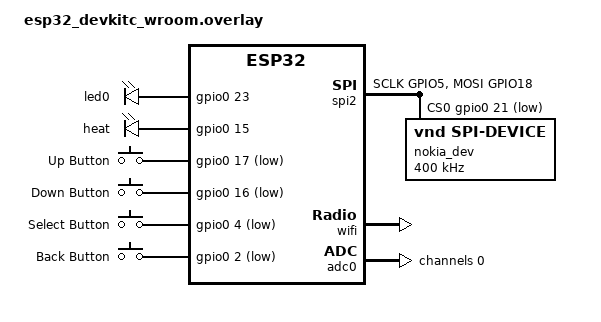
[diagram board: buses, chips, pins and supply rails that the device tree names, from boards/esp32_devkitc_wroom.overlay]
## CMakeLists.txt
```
# Minimum CMake version
cmake_minimum_required(VERSION 3.22.0)

# Locate the Zephyr RTOS source
find_package(Zephyr REQUIRED HINTS $ENV{ZEPHYR_BASE})

# Name the project
project(waterHeater)

# Locate the source code for the application
target_sources(app PRIVATE 
    src/main.c 
    src/display.c
    src/menu.c
    src/menu_data.c
    src/wifi.c
    src/state.c
    src/time.c
    src/adc.c
    src/T_curve.c
    src/pid_regulation.c
    )
```

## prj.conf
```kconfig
#To have a shell console on UART
CONFIG_SHELL=y
CONFIG_CONSOLE=y
CONFIG_UART_CONSOLE=y
CONFIG_ESP32_USE_UNSUPPORTED_REVISION=y

#Tracing tools
#CONFIG_TRACING=y
#CONFIG_TRACING_USER=y
#CONFIG_THREAD_NAME=y

#CONFIG_TRACING_CTF=y
#CONFIG_TRACING_BACKEND_RAM=y
#8192
#CONFIG_RAM_TRACING_BUFFER_SIZE=8192

#Avoid disturbant threads we are no focussing on.
#CONFIG_TRACING_ISR=n
#CONFIG_TRACING_SEMAPHORE=n

# The philips,pcd8544 display driver is not in this version of Zephyr
CONFIG_GPIO=y
CONFIG_SPI=y
CONFIG_LOG=y

## Networking General & Sockets
CONFIG_NETWORKING=y
CONFIG_NET_SOCKETS=y
CONFIG_NET_IPV4=y
CONFIG_NET_IPV6=n
CONFIG_NET_DHCPV4=y
CONFIG_NET_L2_ETHERNET=y
#For Auto-DHCP Helper
CONFIG_ESP32_WIFI_STA_AUTO_DHCPV4=y

# Networking Stack Buffers (increase defaults for Wi-Fi/DHCP)
CONFIG_NET_BUF_RX_COUNT=32
CONFIG_NET_BUF_TX_COUNT=32
CONFIG_NET_PKT_RX_COUNT=16
CONFIG_NET_PKT_TX_COUNT=16

# Enable Wi-Fi Subsystem
CONFIG_WIFI=y
CONFIG_WIFI_LOG_LEVEL_INF=y

# SNTP & POSIX Time Support
CONFIG_SNTP=y
# POSIX_API=y fails on build flash which fails to rebuild
#CONFIG_POSIX_API=y

# Network Shell (optional, great for debugging Wi-Fi connections via terminal)
#CONFIG_NET_SHELL=y

# Allocate system heap memory pool required by the network/Wi-Fi stack
CONFIG_HEAP_MEM_POOL_SIZE=49152

#CONFIG_ESP_HEAP_RUNTIME
#HARDWARE CONFIG -> ESP32 WiFi Config
CONFIG_ESP_WIFI_HEAP_SYSTEM=y

#We need to make a scan of the network with signal
CONFIG_NET_MGMT=y
CONFIG_NET_MGMT_EVENT=y

# Enable DNS Name Resolution - To resolve the sntp address
CONFIG_DNS_RESOLVER=y
# Optional: Provide robust public fallback DNS servers (Google/Cloudflare)
CONFIG_DNS_SERVER1="8.8.8.8"
CONFIG_DNS_SERVER2="1.1.1.1"

# Enable POSIX clock and time support (provides gettimeofday required by C's time())
CONFIG_POSIX_API=y
CONFIG_POSIX_CLOCK=y
# Enable C library extensions (includes setenv, unsetenv, tzset)
#CONFIG_POSIX_C_LIB_EXT=y --> leads to crash


#TO allow Thread definition
CONFIG_THREAD_NAME=y

# Increase main stack size from default (usually 1024 or 2048) to 4096 bytes
#CONFIG_MAIN_STACK_SIZE=4096

# Use ADC to measure temperature with NTC
CONFIG_ADC=y
```

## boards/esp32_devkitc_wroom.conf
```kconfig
#esp32 specific for wifi
CONFIG_ESP32_WIFI=y
CONFIG_ESP32_WIFI_STA_AUTO_DHCPV4=y
```

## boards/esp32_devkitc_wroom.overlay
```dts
/ {
    aliases {
        my-led0 = &led0;
        my-heater = &heat;
        btn-up = &button_up;
        btn-down = &button_dwn;
        btn-select = &button_sel;
        btn-back = &button_bck;
    };

    leds {
        compatible = "gpio-leds";
        
        led0: d23 {
            gpios = <&gpio0 23 GPIO_ACTIVE_HIGH>;
        };
        heat: d2 {
            gpios = <&gpio0 15 GPIO_ACTIVE_HIGH>;
        };
    };

    gpio_keys {
        compatible = "gpio-keys";
        
        button_up: button_up {
            gpios = <&gpio0 17 (GPIO_ACTIVE_LOW | GPIO_PULL_UP)>;
            label = "Up Button";
        };
        
        button_dwn: button_dwn {
            gpios = <&gpio0 16 (GPIO_ACTIVE_LOW | GPIO_PULL_UP)>;
            label = "Down Button";
        };
        
        button_sel: button_sel {
            gpios = <&gpio0 4 (GPIO_ACTIVE_LOW | GPIO_PULL_UP)>;
            label = "Select Button";
        };

        button_bck: button_bck {
            gpios = <&gpio0 2 (GPIO_ACTIVE_LOW | GPIO_PULL_UP)>;
            label = "Back Button";
        };
    };
};

&spi2 {
    status = "okay";
    pinctrl-0 = <&spi2_default>;
    pinctrl-names = "default";
    cs-gpios = <&gpio0 21 GPIO_ACTIVE_LOW>;

    /* SPI device child node for data transfers */
    nokia_dev: nokia@0 {
        compatible = "vnd,spi-device";
        reg = <0>;
        spi-max-frequency = <400000>;
    };
};

/* Remap SPI SCLK to GPIO 5 and MOSI (DIN) to GPIO 18 */
&pinctrl {
    spi2_default: spi2_default {
        group1 {
            pinmux = <SPIM2_SCLK_GPIO5>,
                     <SPIM2_MOSI_GPIO18>;
        };
    };
};

/* Enable wifi */
&wifi {
    status = "okay";
};

&adc0 {
    status = "okay";
    #address-cells = <1>;
    #size-cells = <0>;

    channel@0 {
        reg = <0>;
        zephyr,gain = "ADC_GAIN_1_2";          /* Sets 6 dB attenuation (~0 to 1.5V range) */
        zephyr,reference = "ADC_REF_INTERNAL";
        zephyr,acquisition-time = <ADC_ACQ_TIME_DEFAULT>;
        zephyr,resolution = <12>;              /* 12-bit resolution (0–4095) */
    };
};
```

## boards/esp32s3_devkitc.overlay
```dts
/ {
    aliases {
        my-led0 = &led0;
    };

    leds {
        compatible = "gpio-leds";
        led0: d23 {
            gpios = <&gpio0 23 GPIO_ACTIVE_HIGH>;
        };
    };
};

/ {
    aliases {
        btn-up = &button_17;
        btn-down = &button_16;
        btn-select = &button_4;
    };

    gpio_keys {
        compatible = "gpio-keys";
        
        button_17: button_17 {
            gpios = <&gpio0 17 (GPIO_ACTIVE_LOW | GPIO_PULL_UP)>;
            label = "Up Button G17";
        };
        
        button_16: button_16 {
            gpios = <&gpio0 16 (GPIO_ACTIVE_LOW | GPIO_PULL_UP)>;
            label = "Down Button G16";
        };
        
        button_4: button_4 {
            gpios = <&gpio0 4 (GPIO_ACTIVE_LOW | GPIO_PULL_UP)>;
            label = "Select Button G4";
        };
    };
};

/ {
    /* No custom nodes required */
};

&spi2 {
    status = "okay";
    pinctrl-0 = <&spi2_default>;
    pinctrl-names = "default";
    cs-gpios = <&gpio0 21 GPIO_ACTIVE_LOW>;

    /* SPI device child node for data transfers */
    nokia_dev: nokia@0 {
        compatible = "vnd,spi-device";
        reg = <0>;
        spi-max-frequency = <400000>;
    };
};

/* Remap SPI SCLK to GPIO 5 and MOSI (DIN) to GPIO 18 */
&pinctrl {
    spi2_default: spi2_default {
        group1 {
            pinmux = <SPIM2_SCLK_GPIO5>,
                     <SPIM2_MOSI_GPIO18>;
        };
    };
};

/*Enable wifi*/
&wifi {
    status = "okay";
};
```

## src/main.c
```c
#include <zephyr/kernel.h>
#include <zephyr/device.h>
#include <zephyr/drivers/gpio.h>
#include <zephyr/logging/log.h>
#include <string.h>
#include <stdbool.h>
#include "display.h"
#include "menu.h"
#include "wifi.h"
#include "state.h"
#include "menu_data.h"
#include "T_curve.h"
#include "pid_regulation.h"

/* Define stack size and thread priority for pad-handling thread*/
#define STACK_SIZE 1024
#define PRIORITY1 7 //buttons' state Thread
#define PRIORITY2 7 //heater Thread

extern void refresh_local_time(void);
extern int parse_time_str(const char *time_str);
extern const Screen *current_screen;
extern float read_ntc_voltage(void);
extern int adc_init(void);
extern float GetTemperature(float V_ADC);

static const struct gpio_dt_spec led0 = GPIO_DT_SPEC_GET(DT_ALIAS(my_led0), gpios);
static const struct gpio_dt_spec heater = GPIO_DT_SPEC_GET(DT_ALIAS(my_heater), gpios);
/* Fetch pin specs directly from device tree aliases */
static const struct gpio_dt_spec btn_up = GPIO_DT_SPEC_GET(DT_ALIAS(btn_up), gpios);
static const struct gpio_dt_spec btn_down = GPIO_DT_SPEC_GET(DT_ALIAS(btn_down), gpios);
static const struct gpio_dt_spec btn_select = GPIO_DT_SPEC_GET(DT_ALIAS(btn_select), gpios);
static const struct gpio_dt_spec btn_back= GPIO_DT_SPEC_GET(DT_ALIAS(btn_back), gpios);

LOG_MODULE_REGISTER(app_main, LOG_LEVEL_INF);

/* Define a mutex for the LCD/SPI bus */
K_MUTEX_DEFINE(lcd_lock);

/* Thread-safe wrapper for rendering */
void safe_menu_render(void) {
    /* Try to acquire the mutex with a timeout (e.g., 100ms) to avoid permanent deadlocks */
    if (k_mutex_lock(&lcd_lock, K_MSEC(100)) == 0) {
        menu_render();
        k_mutex_unlock(&lcd_lock);
    } else {
        LOG_WRN("Failed to acquire LCD mutex for rendering");
    }
}

int init_buttons(void) {
    if (!device_is_ready(btn_up.port) || 
        !device_is_ready(btn_down.port) ||
        !device_is_ready(btn_back.port) || 
        !device_is_ready(btn_select.port)) {
        LOG_ERR("One or more button GPIO ports not ready!");
        return -1;
    }

    gpio_pin_configure_dt(&btn_up, GPIO_INPUT);
    gpio_pin_configure_dt(&btn_down, GPIO_INPUT);
    gpio_pin_configure_dt(&btn_select, GPIO_INPUT);
    gpio_pin_configure_dt(&btn_back, GPIO_INPUT);

    LOG_INF("Buttons initialized via Device Tree overlay.");
    return 0;
}

static void Gpio_pin_get(const struct gpio_dt_spec *btn, MenuEvent event){
 	/* Since they are configured with GPIO_ACTIVE_LOW, 
           gpio_pin_get_dt returns 1 when pressed, 0 when released. */
              if (gpio_pin_get_dt(btn) == 1) {
                  k_msleep(50); // Debounce
                  while (gpio_pin_get_dt(btn) == 1) k_msleep(10); /*Wait till btn is relaxed*/
                  menu_process_event(event);
                  //menu_render();
                  safe_menu_render();
	       }
	 }
/* Pad_Handler_Thread: Waits 1ms and toggles state1 */
void Pad_Handler_thread_entry(void *p1, void *p2, void *p3)
{
    ARG_UNUSED(p1);
    ARG_UNUSED(p2);
    ARG_UNUSED(p3);

    while (1) {
        Gpio_pin_get(&btn_up,EVENT_UP);
        Gpio_pin_get(&btn_down,EVENT_DOWN);
        Gpio_pin_get(&btn_select,EVENT_SELECT);
        Gpio_pin_get(&btn_back,EVENT_BACK);
        k_msleep(200);
    }
}

/* Statically define and initialize the threads */
K_THREAD_DEFINE(Pad_Handler, STACK_SIZE, Pad_Handler_thread_entry, NULL, NULL, NULL,
                PRIORITY1, 0, 0);

/* Heater_thread_entry: Evaluates time windows safely */
void Heater_thread_entry(void *p1, void *p2, void *p3)
{
    ARG_UNUSED(p1);
    ARG_UNUSED(p2);
    ARG_UNUSED(p3);
    int ret;

    // Make sure that the GPIO was initialized
    if (!gpio_is_ready_dt(&heater)) {
        LOG_INF("Couldn't initialise heater GPIO 2.");
    }

    // Set the GPIO as output
    ret = gpio_pin_configure_dt(&heater, GPIO_OUTPUT);
    if (ret < 0) {
        LOG_INF("Couldn't configure heater GPIO 2.");
    }
       
    while (1) {
        // 1. Get current time and schedule windows dynamically from app_state using safe parser
        int current_minutes = parse_time_str(app_state.CurrentTime);
        
        int start1 = parse_time_str(app_state.TimeStartHeat1);
        int stop1  = parse_time_str(app_state.TimeStopHeat1);
        int start2 = parse_time_str(app_state.TimeStartHeat2);
        int stop2  = parse_time_str(app_state.TimeStopHeat2);
        int state = 0; /* can be 0,1 to 4*/
        static int previous_state = -1;
        // Non-blocking counter to keep track of remaining heating seconds across loop iterations
        static int heating_remaining_mins = 0;
        static int heating_end_time_mins = -1; // Absolute minutes from midnight when heating stops
        static bool Heating_is_over = false; //to avoid recalculate duration and heat within the same in_time_window
        // Check if current time falls within Slot 1 or Slot 2
        bool slot2 = strcmp(app_state.slot2, "ON") == 0 ? true : false; /*Enable slot2*/
        bool in_time_window = ((current_minutes >= start1 && current_minutes <= stop1) ||
                               (slot2 && current_minutes >= start2 && current_minutes <= stop2));
        static int disp_pid_output = 0; /*case display pid_output, remaining duration*/
        static int disp_ctn =0;
        // Heater logic
        if ((strcmp(app_state.RegulMode, "ON") == 0) && in_time_window 
                && Heating_is_over == false) {
                    
        // If we haven't started heating yet for this window, get duration and set absolute target end time
        if (heating_end_time_mins == -1) {
            int duration_mins = run_heating_regulation(); // Returns duration in MINUTES
            heating_end_time_mins = current_minutes + duration_mins;
            snprintf(app_state.LastHeatDuration, sizeof(app_state.LastHeatDuration), "-->:%3dmins",duration_mins);
        }
        // Calculate remaining minutes
        int heating_remaining_mins = heating_end_time_mins - current_minutes;
        if (heating_remaining_mins < 0) {
            heating_remaining_mins = 0;
        }
            switch(disp_pid_output){
                case 1:
                    snprintf(app_state.GlobalState, sizeof(app_state.GlobalState), "PIDOUT:%3d",(int)app_state.pid_output);
                    break;
                case 2:
                    snprintf(app_state.GlobalState, sizeof(app_state.GlobalState), "--> %3dmins",heating_remaining_mins);
                    break;
                default:
                    snprintf(app_state.GlobalState, sizeof(app_state.GlobalState), "EN CHAUFFE");
                    break;
            }
            if (disp_ctn % 5) disp_pid_output ++;
            if (disp_pid_output > 3) disp_pid_output = 0;
            disp_ctn ++;

            snprintf(app_state.State, sizeof(app_state.State), "ON");
            // Non-blocking Relay Command
            if (heating_remaining_mins > 0) {
                gpio_pin_set_dt(&heater, 1);
            }else {
                //Don't heat when duration is over although we are in_time_window
                gpio_pin_set_dt(&heater, 0);
                Heating_is_over = true; /*Once in_time_window regulation and duration calculated done cannot calculate again before reset*/
            }
            state=1;
        }else if((strcmp(app_state.RegulMode, "ON") == 0) && in_time_window 
                && Heating_is_over == true) {
            /*Here is when when just finished the heating time within in_time_window*/
            snprintf(app_state.GlobalState, sizeof(app_state.GlobalState), "FIN CYCLE CH.");
            snprintf(app_state.State, sizeof(app_state.State), "OFF");
            state=2;
        }else if ((strcmp(app_state.RegulMode, "ON") == 0) && !in_time_window) {
            gpio_pin_set_dt(&heater, 0);
            snprintf(app_state.GlobalState, sizeof(app_state.GlobalState), "HORS PLAGE");
            snprintf(app_state.State, sizeof(app_state.State), "OFF");
            Heating_is_over = false; /*Reset the Heating possiblity*/
            heating_end_time_mins = -1;/*Reset value*/
            state=3;
        } else if (strcmp(app_state.RegulMode, "FULLON") == 0) {
            gpio_pin_set_dt(&heater, 1);
            snprintf(app_state.State, sizeof(app_state.State), "ON");
            snprintf(app_state.GlobalState, sizeof(app_state.GlobalState), "TJRS EN CH.");
            state=4;
            app_state.pid_integral = 0.0f; // Reset PID state when no regulation
        }else{
            gpio_pin_set_dt(&heater, 0);
            snprintf(app_state.State, sizeof(app_state.State), "OFF");
            snprintf(app_state.GlobalState, sizeof(app_state.GlobalState), "-- ARRET --");
            state=5;
            app_state.pid_integral = 0.0f; // Reset PID state when no regulation
        }
        if (previous_state != state || disp_ctn % 5) safe_menu_render();
        previous_state = state;
        k_msleep(1000);
    }
}

// Statically define and initialize the threads
K_THREAD_DEFINE(Heater, STACK_SIZE, Heater_thread_entry, NULL, NULL, NULL,
                PRIORITY2, 0, 0);


int main(void)
{
    int ret;

    // Make sure that the GPIO was initialized
    if (!gpio_is_ready_dt(&led0)) {
        return 0;
    }

    // Set the GPIO as output
    ret = gpio_pin_configure_dt(&led0, GPIO_OUTPUT);
    if (ret < 0) {
        return 0;
    }

    LOG_INF("Starting Hot-Water Controller Application...");

    /* 1. Initialize the Nokia 5110 display hardware */
    if (init_nokia_screen() != 0) {
        LOG_ERR("Failed to initialize Nokia screen!");
    }

    if (init_buttons() != 0) {
        return 0;
    }

    /* 2. Initialize the Menu State Machine */
    menu_init();

    /* 3. Perform initial render of the D0 Front Page */
    //menu_render();
    safe_menu_render();

    /* 1. Scan for nearby Wi-Fi networks first (results print via logs, or hook to your menu) */
    //LOG_INF("Scanning for available Wi-Fi networks...");
    //start_wifi_scan();

    print_esp32_mac_address();
    /* 4. Connect to Wi-Fi */
    wifi_connect_init();

    LOG_INF("Waiting for network time synchronization...");
    snprintf(app_state.CurrentTime, sizeof(app_state.CurrentTime), "WSNTP");
    //menu_render();
    safe_menu_render();
    if (wifi_wait_for_ip(K_SECONDS(15)) == 0) {
        char time_str[16];
        char date_str[16];

        /* Give the network stack 1 second to bind DNS and routes */
        k_sleep(K_SECONDS(1));
        /* Fetch time from internet */
        if (fetch_internet_time_and_date(time_str, sizeof(time_str), date_str, sizeof(date_str)) == 0) {
            LOG_INF("Time UTC successfully synchronized: %s, %s", date_str, time_str);
            refresh_local_time();
            LOG_INF("Set to local Time Zone.");
            //menu_render();
            safe_menu_render();
        }else{
            snprintf(app_state.CurrentTime, sizeof(app_state.CurrentTime), "--H--");
            //menu_render();
            safe_menu_render();
        }
        
        /* Lock down the network immediately after sync to ensure security */
        disconnect_wifi_securely();
    } else {
        LOG_WRN("Network timeout. Disconnecting and running offline.");
        disconnect_wifi_securely();
    }

    LOG_INF("System ready. Entering main event loop.");
    
    ret=adc_init();
    if (ret <0){
        LOG_ERR("Couldn't init adc");
        app_state.adcReady = false;
    }else{
        LOG_INF("ADC Initialized and ready");
        app_state.adcReady = true;
    }
    
    int ctn=0;
    static int temp_scaled_previous;
    while (1) {
        ctn++;
        // Heartbit Led blinks every 5 secs
        if (ctn % 5 == 0 ) {
            gpio_pin_set_dt(&led0, 1);
            k_sleep(K_MSEC(50));
            gpio_pin_set_dt(&led0,0);;
            }
        if (ctn %60 == 0 ) {
            refresh_local_time();
            if (strcmp(current_screen->id, "D0") == 0) safe_menu_render();
        }
        //Read Voltage
        
        if (app_state.adcReady == true) {
            float V_ADC = read_ntc_voltage();
            float Temp = GetTemperature(V_ADC);
            // Scale by 10 to keep one decimal place using integers
            int temp_scaled = (int)(Temp * 10.0f);
            /*Save value of temperature along time every 30secs*/
            if (ctn %30 == 0 ) append_temp_value(temp_scaled);

            /*Handle TempMin, TempMax*/
            static int min_scaled = 0;
            static int max_scaled = 0;
            static bool initialized = false;
            // Initialize min/max on the very first reading
            if (!initialized) {
                min_scaled = temp_scaled;
                max_scaled = temp_scaled;
                initialized = true;
            } else {
                if (ctn %60 == 0 ) {
                    max_scaled = 5 * (int)retrieve_local_maxmin(TMEMSIZE*3/4,RETRIEVE_MAX); //Search Max over the last 18 hours roughly
                    min_scaled = 5 * (int)retrieve_local_maxmin(TMEMSIZE/10,RETRIEVE_MIN); //Search min over the last 18 hours roughly
                }
            }
            /* /!\ the _scaled temperatures are coming from Temp*10 */
            if (temp_scaled != temp_scaled_previous) {
                //LOG_INF("Temperature measured is %d.%d °C", temp_scaled / 10, abs(temp_scaled % 10));
                snprintf (app_state.TempCurrently, sizeof(app_state.TempCurrently),"%2d.%1d@C",temp_scaled/10, abs(temp_scaled % 10));
                snprintf(app_state.TempMax, sizeof(app_state.TempMax), "%2d.%d@C", max_scaled / 10, abs(max_scaled % 10));
                snprintf(app_state.TempMin, sizeof(app_state.TempMin), "%2d.%d@C", min_scaled / 10, abs(min_scaled % 10));
                snprintf(app_state.TempMaxAct, sizeof(app_state.TempMaxAct), "%s/%s", app_state.TempMax,app_state.TempCurrently);
                temp_scaled_previous = temp_scaled;
                if (strcmp(current_screen->id, "D0") == 0 || 
                    strcmp(current_screen->id, "M0_0") == 0) safe_menu_render();
            }
        }
        k_sleep(K_MSEC(1000));
    }
}
```

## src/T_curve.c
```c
#include "T_curve.h"
#include "display.h"
#include "state.h"

/* External references from display.c */
extern uint8_t fb[];
extern uint8_t set_addr[];

static uint8_t Temp_mem[TMEMSIZE];
static int t_index = 0;         // Points to the next write position
static bool buffer_wrapped = false; // Tracks if we've filled the buffer at least once

LOG_MODULE_REGISTER(app_Tcurve, LOG_LEVEL_INF);

void append_temp_value(int temp_scaled){

    // (Assuming temp_scaled has already been calculated)
    Temp_mem[t_index] = (uint8_t)(temp_scaled / 5);
    //LOG_INF("2T(%d) = %d",t_index,Temp_mem[t_index]);
    t_index++;
    if (t_index >= TMEMSIZE) {
        t_index = 0;
        buffer_wrapped = true; // We've completed a full 31-day cycle
    }
}


void T_Curve_Display(int mode) {
    int valid_items = buffer_wrapped ? TMEMSIZE : t_index;
    
    if (valid_items < 2) {
        return; // Not enough data to draw a curve
    }

    // Determine how many horizontal steps to draw
    int n_steps = (valid_items < DISPLAY_WIDTH) ? valid_items : DISPLAY_WIDTH;
    int start_offset = (mode == DISPLAY_MODE_RECENT && valid_items > DISPLAY_WIDTH) ? (valid_items - DISPLAY_WIDTH) : 0;

    for (int x = 0; x < n_steps - 1; x++) {
        int k1, k2;

        if (mode == DISPLAY_MODE_RECENT) {
            k1 = start_offset + x;
            k2 = start_offset + x + 1;
        } else { // DISPLAY_MODE_FULL
            k1 = (x * valid_items) / DISPLAY_WIDTH;
            k2 = ((x + 1) * valid_items) / DISPLAY_WIDTH;
            if (k2 >= valid_items) k2 = valid_items - 1;
        }

        // Resolve circular buffer indices uniformly
        int src_index1 = buffer_wrapped ? (t_index + k1) % TMEMSIZE : k1;
        int src_index2 = buffer_wrapped ? (t_index + k2) % TMEMSIZE : k2;

        // Calculate Y coordinates
        int Y1 = DISPLAY_HEIGHT - (int)Temp_mem[src_index1] * 40 / (90 * 2);
        int Y2 = DISPLAY_HEIGHT - (int)Temp_mem[src_index2] * 40 / (90 * 2);

        fb_draw_line(x, Y1, x + 1, Y2);
    }

    /* Test marker / middle edge indicator */
    for (int p = 1; p < 6; p++) {
        fb[p * DISPLAY_WIDTH + DISPLAY_WIDTH/2] = 0xAA;    // middle edge
    }
    /* Draw a horizontal reference line at T = 50°C */
    int target_temp_2T = 50 * 2; // Since memory stores 2 * T (half-degree steps)
    int y_line = DISPLAY_HEIGHT - (int)target_temp_2T * 40 / (90 * 2);

    for (int x = 0; x < DISPLAY_WIDTH; x++) {
        // Optional: Make it a dashed line by checking (x % 2 == 0) if you don't want it solid
        if (x % 2 == 0) fb_draw_pixel(x, y_line);
    }
    //complete bottom full line
        for (int x = 12; x < DISPLAY_WIDTH-12; x++) {
        fb[5*DISPLAY_WIDTH + x] |= 0x80;    // Missing part of Bottom edge
    }
    /* Draw short horizontal reference lines at T = 30°C, 40°C, 60°C, and 70°C */
    int ref_temps[] = {30, 40, 60, 70};
    int num_temps = sizeof(ref_temps) / sizeof(ref_temps[0]);

    for (int i = 0; i < num_temps; i++) {
        int y_line = DISPLAY_HEIGHT - (ref_temps[i] * 2) * 40 / (90 * 2);

        // Draw short ticks on Left, Center, and Right
        fb_draw_line(0, y_line, 3, y_line);  // Left edge
        fb_draw_line(DISPLAY_WIDTH / 2 - 2, y_line, DISPLAY_WIDTH / 2 + 2, y_line); // Center
        fb_draw_line(DISPLAY_WIDTH - 3, y_line, DISPLAY_WIDTH, y_line); // Right edge
    }
    if (mode == DISPLAY_MODE_RECENT) fbprint(45, 0, "Recent");
    else fbprint(45, 0, "full");
}

// Returns the maximum temperature as an integer (representing 2 * T)
// e.g., A return value of 51 means 25.5°C (51 / 2)
uint8_t retrieve_local_maxmin(int lookback_count, int maxmin) {
    //if maxmin=0 we retrieve max, else retrieve min
    int valid_items = buffer_wrapped ? TMEMSIZE : t_index;
    if (valid_items == 0) {
        return 0; // No data recorded yet
    }

    // Ensure we don't look back further than the data available
    int count = (lookback_count < valid_items) ? lookback_count : valid_items;
    if (count <= 0) {
        return Temp_mem[0]; //Take the first value
    }

    uint8_t max_val = 0;
    uint8_t min_val = 255; //Great value that is impossible to reach

    // Iterate backwards from the most recent entry (t_index - 1)
    for (int i = 0; i < count; i++) {
        int index;
        
        if (buffer_wrapped) {
            index = (t_index - 1 - i + TMEMSIZE) % TMEMSIZE;
        } else {
            index = (t_index - 1 - i);
        }

        uint8_t current_val = Temp_mem[index];
        if (current_val < min_val) {
            min_val = current_val;
        }
        if (current_val > max_val) {
            max_val = current_val;
        }
    }

    if (maxmin == RETRIEVE_MAX)return max_val;
    else return min_val;
}
```

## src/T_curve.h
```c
#include <stdbool.h>
#include <stdint.h> // Required for uint8_t
#include <zephyr/logging/log.h>

extern void fb_draw_pixel(int x, int y);
extern void fb_draw_line(int x1, int y1, int x2, int y2);
extern void safe_menu_render();

extern void append_temp_value(int temp_scaled);
extern void T_Curve_Display(int mode);
extern uint8_t retrieve_local_maxmin(int lookback_count, int maxmin);

#define TMEMSIZE (24 * 60 * 2) // Temperature every 30secs on a day is a cycle
#define DISPLAY_MODE_RECENT 0 // Shows only the last 84 data points (1-to-1 pixel mapping)
#define DISPLAY_MODE_FULL   1 // Compresses all recorded history across the 84 screen columns
#define RETRIEVE_MAX 0 //Retrieve max over the period of time
#define RETRIEVE_MIN 1 //Retrieve min over the period of time
```

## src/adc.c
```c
#include <zephyr/kernel.h>
#include <zephyr/drivers/adc.h>
#include <zephyr/logging/log.h>

LOG_MODULE_REGISTER(app_adc, LOG_LEVEL_INF);

/* Fetch the ADC1 controller directly by node label */
static const struct device *adc_dev = DEVICE_DT_GET(DT_NODELABEL(adc0));
static uint16_t raw_value;

/* Explicit channel configuration matching your overlay */
static const struct adc_channel_cfg channel_cfg = {
    .gain = ADC_GAIN_1_2,           // 6dB attenuation (0 - 1.5V range)
    .reference = ADC_REF_INTERNAL,  // Internal reference 
    .acquisition_time = ADC_ACQ_TIME_DEFAULT,
    .channel_id = 0,                // Channel 0 -> SENSOR_VP (GPIO36)
};

static struct adc_sequence sequence = {
    .buffer = &raw_value,
    .buffer_size = sizeof(raw_value),
    .resolution = 12,               // 12-bit resolution (0 - 4095)
    .channels = BIT(0),             // Bitmask for Channel 0
};

int adc_init(void) {
    int err;

    if (!device_is_ready(adc_dev)) {
        LOG_ERR("Error: ADC device is not ready\n");
        return -ENODEV;
    }

    /* Setup the ADC channel configuration */
    err = adc_channel_setup(adc_dev, &channel_cfg);
    if (err < 0) {
        LOG_ERR("Failed to setup ADC channel (%d)\n", err);
        return err;
    }
    return 0;
}

float read_ntc_voltage(void) {
    int err;
    uint32_t sum_mv = 0;
    int valid_samples = 0;
    const int num_samples = 32;

    for (int i = 0; i < num_samples; i++) {
        err = adc_read(adc_dev, &sequence);
        if (err == 0) {
            int32_t val_mv = (int32_t)raw_value;
            /* Convert each raw sample to millivolts */
            if (adc_raw_to_millivolts(1100, ADC_GAIN_1_2, 12, &val_mv) >= 0) {
                sum_mv += val_mv;
                valid_samples++;
            }
        }
        /* Short delay between burst samples to let the sample capacitor settle */
        k_busy_wait(100); 
    }

    if (valid_samples == 0) {
        LOG_ERR("Failed to read ADC across sample burst");
        return -1.0f;
    }

    int32_t avg_mv = sum_mv / valid_samples;
    float val_v = (float)avg_mv / 1000.0f;
    
    //LOG_INF("Averaged Voltage: %d mV", avg_mv);
    return val_v;
}

float GetTemperature(float V_ADC){
    /*R_{NTC} = \frac{V_{ADC}}{3.3-V_{ADC}}\times 10 (in kOhms)*/
    float R_NTC = V_ADC / (3.3f-V_ADC) * 100.0f;
    const float a = 0.00665; 
    const float b = -1.34; 
    const float c = 74.93;
    float Temperature = a * R_NTC * R_NTC + b * R_NTC + c;
    return Temperature;
}
```

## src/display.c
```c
#include <zephyr/drivers/spi.h>
#include <zephyr/logging/log.h>
#include "display.h"
#include "font5x7.h"

LOG_MODULE_REGISTER(nokia_text, LOG_LEVEL_INF);

/* Direct GPIO initializations for DC (GPIO 19) and RST (GPIO 22) */
static const struct gpio_dt_spec dc_gpio = {
    .port = DEVICE_DT_GET(DT_NODELABEL(gpio0)),
    .pin = 19,
    .dt_flags = GPIO_ACTIVE_HIGH
};

static const struct gpio_dt_spec rst_gpio = {
    .port = DEVICE_DT_GET(DT_NODELABEL(gpio0)),
    .pin = 22,
    .dt_flags = GPIO_ACTIVE_LOW
};

/* SPI device specification with all 3 required arguments */
static const struct spi_dt_spec spi_dev = SPI_DT_SPEC_GET(
    DT_NODELABEL(nokia_dev), 
    SPI_WORD_SET(8) | SPI_TRANSFER_MSB,
    0
);

void pcd8544_send(const uint8_t *data, size_t len, bool is_data)
{
    gpio_pin_set_dt(&dc_gpio, is_data ? 1 : 0);
    struct spi_buf buf = { .buf = (void *)data, .len = len };
    struct spi_buf_set tx = { .buffers = &buf, .count = 1 };
    spi_write_dt(&spi_dev, &tx);
}

void draw_string(uint8_t *fb, int x, int page, const char *str)
{
    while (*str) {
        char c = *str++;
        /* "°" of °C is 176 in ASCII we need to keep it as is*/
        if ((c < 32 || c > 126) && c != 176) c = ' ';
        
        const uint8_t *glyph = font5x7[(unsigned char)c];
        
        for (int col = 0; col < 5; col++) {
            if (x + col < DISPLAY_WIDTH) {
                fb[(page * DISPLAY_WIDTH) + (x + col)] = glyph[col];
            }
        }
        x += 6;
    }
}

void draw_string_inv(uint8_t *fb, int x, int page, const char *str)
{
    while (*str) {
        char c = *str++;
        /* "°" of °C is 176 in ASCII we need to keep it as is*/
        if ((c < 32 || c > 126) && c != 176) continue; //c = ' ';
        
        const uint8_t *glyph = font5x7[(unsigned char)c];
        
        for (int col = 0; col < 5; col++) {
            if (x + col < DISPLAY_WIDTH) {
                fb[(page * DISPLAY_WIDTH) + (x + col)] = (~glyph[col]);
            }
        }
        fb[(page * DISPLAY_WIDTH) + (x + 5)] = 0xFF;
        x += 6;
    }
}

/* Classic PCD8544 Initialization Sequence */
uint8_t init_cmds[] = {
    0x21, // 1: Extended instruction set (H=1)
    0xA9, // 2: Set VOP (Contrast). Try changing 0xB1 between 0x80 and 0xEF if needed.
    0x04, // 3: Set Temp coefficient (TC2)
    0x14, // 4: Set bias system (BSx = 0x14 for 1:48 bias)
    0x20, // 5: Back to Basic instruction set (H=0)
    0x0C  // 6: Display control: Normal mode (0x0C = normal, 0x0D = inverted)
};

int init_nokia_screen(){
    LOG_INF("Starting Nokia 5110 text display app...");

    if (!device_is_ready(spi_dev.bus) || !gpio_is_ready_dt(&dc_gpio) || !gpio_is_ready_dt(&rst_gpio)) {
        LOG_ERR("Hardware peripherals not ready!");
        return -1;
    }

 /* Configure pins as outputs */
    gpio_pin_configure_dt(&dc_gpio, GPIO_OUTPUT_INACTIVE);
    gpio_pin_configure_dt(&rst_gpio, GPIO_OUTPUT_INACTIVE);

    /* --- Proper Hardware Reset Pulse --- */
    /* 1. Ensure reset is released (Logical 0 = Physical High) */
    gpio_pin_set_dt(&rst_gpio, 0);
    k_msleep(10);

    /* 2. Assert reset (Logical 1 = Physical Low) */
    gpio_pin_set_dt(&rst_gpio, 1);
    k_msleep(50); // Hold reset low for 50ms

    /* 3. Release reset to start the chip (Logical 0 = Physical High) */
    gpio_pin_set_dt(&rst_gpio, 0);
    k_msleep(50);
    for (int i = 0; i < sizeof(init_cmds); i++) {
        pcd8544_send(&init_cmds[i], 1, false);
    }
    /*No errors*/
    return 0;
}

/* Create Frame Buffer */
uint8_t fb[BUFFER_SIZE];
uint8_t set_addr[] = { 0x80, 0x40 }; // RAM address to origin (X=0, Y=0)

void clear_framebuffer(){
    memset(fb, 0x00, sizeof(fb));
}
void draw_box(){
    /* Draw a box border */
    for (int x = 0; x < DISPLAY_WIDTH; x++) {
        //fb[x] |= 0x01;                       // Top edge
        if (x < 12 || x > DISPLAY_WIDTH - 12) fb[5*DISPLAY_WIDTH + x] |= 0x80;    // Bottom edge
    }
    for (int p = 1; p < 6; p++) {
        fb[p * DISPLAY_WIDTH] = 0xFF;         // Left edge
        fb[p * DISPLAY_WIDTH + 83] = 0xFF;    // Right edge
    }
    /* Send Frame Buffer Data */
    pcd8544_send(set_addr, 2, false);
    pcd8544_send(fb, sizeof(fb), true);
}

void fb_draw_line_under_title(){
    /* Draw a box border */
    for (int x = 0; x < DISPLAY_WIDTH; x++) {
        fb[x] |= 0x80;                       // Top under title
    }
}

void fbprint(int x, int y, char* text){
    draw_string (fb, x, y, text);
    /* Send Frame Buffer Data */
    pcd8544_send(set_addr, 2, false);
    pcd8544_send(fb, sizeof(fb), true);
}


/*Display curve T=f(t) needed routines*/
// Helper to draw a single pixel into the paginated framebuffer
void fb_draw_pixel(int x, int y) {
    // Bounds check (84 columns x 48 rows)
    if (x < 0 || x >= DISPLAY_WIDTH || y < 0 || y >= 48) {
        LOG_ERR("X,Y out of Range");
        return;
    }

    int page = y / 8;                // Which of the 6 pages (0 to 5)
    int bit = y % 8;                 // Which bit within the byte (0 to 7)
    
    // Set the corresponding bit in the framebuffer
    int index = page * DISPLAY_WIDTH + x;
    if (index >= 0 && index < BUFFER_SIZE) {
        fb[index] |= (1 << bit);
    }
    else LOG_ERR("X,Y out of Range");
}

// Draw a line from (x1, y1) to (x2, y2) using Bresenham's algorithm
void fb_draw_line(int x1, int y1, int x2, int y2) {
    int dx = abs(x2 - x1);
    int dy = abs(y2 - y1);
    int sx = (x1 < x2) ? 1 : -1;
    int sy = (y1 < y2) ? 1 : -1;
    int err = dx - dy;

    while (true) {
        fb_draw_pixel(x1, y1);

        if (x1 == x2 && y1 == y2) {
            break;
        }

        int e2 = 2 * err;
        if (e2 > -dy) {
            err -= dy;
            x1 += sx;
        }
        if (e2 < dx) {
            err += dx;
            y1 += sy;
        }
    }
}
```

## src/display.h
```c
#define DISPLAY_WIDTH  84
#define DISPLAY_HEIGHT 48
#define BUFFER_SIZE    ((DISPLAY_WIDTH * DISPLAY_HEIGHT) / 8)
#include <stdbool.h>
#include <stdlib.h>

void clear_framebuffer();
void draw_box();
void fbprint(int x, int y, char* text);
void pcd8544_send(const uint8_t *data, size_t len, bool is_data);
void draw_string(uint8_t *fb, int, int, const char*);
void draw_string_inv(uint8_t *fb, int, int, const char*);
void fb_draw_line_under_title();
int init_nokia_screen();
```

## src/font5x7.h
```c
#ifndef FONT5X7_H
#define FONT5X7_H

#include <stdint.h>

static const uint8_t font5x7[256][5] = {
    /* Whitespace & Punctuation */
    [' '] = {0x00, 0x00, 0x00, 0x00, 0x00},
    ['!'] = {0x00, 0x00, 0x5f, 0x00, 0x00},
    ['"'] = {0x00, 0x07, 0x00, 0x07, 0x00},
    ['#'] = {0x14, 0x7f, 0x14, 0x7f, 0x14},
    ['$'] = {0x24, 0x2a, 0x7f, 0x2a, 0x12},
    ['%'] = {0x23, 0x13, 0x08, 0x64, 0x62},
    ['&'] = {0x36, 0x49, 0x55, 0x22, 0x50},
    ['\'']= {0x00, 0x05, 0x03, 0x00, 0x00},
    ['('] = {0x00, 0x1c, 0x22, 0x41, 0x00},
    [')'] = {0x00, 0x41, 0x22, 0x1c, 0x00},
    ['*'] = {0x08, 0x2a, 0x1c, 0x2a, 0x08},
    ['+'] = {0x08, 0x08, 0x3e, 0x08, 0x08},
    [','] = {0x00, 0x50, 0x30, 0x00, 0x00},
    ['-'] = {0x08, 0x08, 0x08, 0x08, 0x08},
    ['.'] = {0x00, 0x60, 0x60, 0x00, 0x00},
    ['/'] = {0x20, 0x10, 0x08, 0x04, 0x02},

    /* Numbers */
    ['0'] = {0x3e, 0x51, 0x49, 0x45, 0x3e},
    ['1'] = {0x00, 0x42, 0x7f, 0x40, 0x00},
    ['2'] = {0x42, 0x61, 0x51, 0x49, 0x46},
    ['3'] = {0x21, 0x41, 0x45, 0x4b, 0x31},
    ['4'] = {0x18, 0x14, 0x12, 0x7f, 0x10},
    ['5'] = {0x27, 0x45, 0x45, 0x45, 0x39},
    ['6'] = {0x3c, 0x4a, 0x49, 0x49, 0x31},
    ['7'] = {0x41, 0x21, 0x11, 0x09, 0x07},
    ['8'] = {0x36, 0x49, 0x49, 0x49, 0x36},
    ['9'] = {0x06, 0x49, 0x49, 0x29, 0x1e},

    /* More Punctuation & Symbols */
    [':'] = {0x00, 0x36, 0x36, 0x00, 0x00},
    [';'] = {0x00, 0x56, 0x36, 0x00, 0x00},
    ['<'] = {0x00, 0x08, 0x14, 0x22, 0x41},
    ['='] = {0x14, 0x14, 0x14, 0x14, 0x14},
    ['>'] = {0x41, 0x22, 0x14, 0x08, 0x00},
    ['?'] = {0x02, 0x01, 0x51, 0x09, 0x06},
    //['@'] = {0x32, 0x49, 0x79, 0x41, 0x3e},
    ['@'] = {0x00, 0x07, 0x05, 0x07, 0x00}, //We use @ insteatd of ° of °C

    /* Uppercase Alphabet */
    ['A'] = {0x7e, 0x11, 0x11, 0x11, 0x7e},
    ['B'] = {0x7f, 0x49, 0x49, 0x49, 0x36},
    ['C'] = {0x3e, 0x41, 0x41, 0x41, 0x22},
    ['D'] = {0x7f, 0x41, 0x41, 0x41, 0x3e},
    ['E'] = {0x7f, 0x49, 0x49, 0x49, 0x41},
    ['F'] = {0x7f, 0x09, 0x09, 0x09, 0x01},
    ['G'] = {0x3e, 0x41, 0x49, 0x49, 0x7a},
    ['H'] = {0x7f, 0x08, 0x08, 0x08, 0x7f},
    ['I'] = {0x00, 0x41, 0x7f, 0x41, 0x00},
    ['J'] = {0x20, 0x40, 0x41, 0x3f, 0x01},
    ['K'] = {0x7f, 0x08, 0x14, 0x22, 0x41},
    ['L'] = {0x7f, 0x40, 0x40, 0x40, 0x40},
    ['M'] = {0x7f, 0x02, 0x0c, 0x02, 0x7f},
    ['N'] = {0x7f, 0x04, 0x08, 0x10, 0x7f},
    ['O'] = {0x3e, 0x41, 0x41, 0x41, 0x3e},
    ['P'] = {0x7f, 0x09, 0x09, 0x09, 0x06},
    ['Q'] = {0x3e, 0x41, 0x51, 0x21, 0x5e},
    ['R'] = {0x7f, 0x09, 0x19, 0x29, 0x46},
    ['S'] = {0x26, 0x49, 0x49, 0x49, 0x32},
    ['T'] = {0x01, 0x01, 0x7f, 0x01, 0x01},
    ['U'] = {0x3f, 0x40, 0x40, 0x40, 0x3f},
    ['V'] = {0x1f, 0x20, 0x40, 0x20, 0x1f},
    ['W'] = {0x3f, 0x40, 0x38, 0x40, 0x3f},
    ['X'] = {0x63, 0x14, 0x08, 0x14, 0x63},
    ['Y'] = {0x07, 0x08, 0x70, 0x08, 0x07},
    ['Z'] = {0x61, 0x51, 0x49, 0x4d, 0x43},

    /* Lowercase Alphabet */
    ['a'] = {0x20, 0x54, 0x54, 0x54, 0x78},
    ['b'] = {0x7f, 0x48, 0x44, 0x44, 0x38},
    ['c'] = {0x38, 0x44, 0x44, 0x44, 0x20},
    ['d'] = {0x38, 0x44, 0x44, 0x48, 0x7f},
    ['e'] = {0x38, 0x54, 0x54, 0x54, 0x18},
    ['f'] = {0x08, 0x7e, 0x09, 0x01, 0x02},
    ['g'] = {0x18, 0xa4, 0xa4, 0x9c, 0x78},
    ['h'] = {0x7f, 0x08, 0x04, 0x04, 0x78},
    ['i'] = {0x00, 0x44, 0x7d, 0x40, 0x00},
    ['j'] = {0x20, 0x40, 0x40, 0x3d, 0x00},
    ['k'] = {0x7f, 0x10, 0x28, 0x44, 0x00},
    ['l'] = {0x00, 0x41, 0x7f, 0x03, 0x00},
    ['m'] = {0x7c, 0x04, 0x18, 0x04, 0x78},
    ['n'] = {0x7c, 0x08, 0x04, 0x04, 0x78},
    ['o'] = {0x38, 0x44, 0x44, 0x44, 0x38},
    ['p'] = {0xfc, 0x18, 0x24, 0x24, 0x18},
    ['q'] = {0x18, 0x24, 0x24, 0x18, 0xfc},
    ['r'] = {0x7c, 0x08, 0x04, 0x04, 0x08},
    ['s'] = {0x48, 0x54, 0x54, 0x54, 0x24},
    ['t'] = {0x04, 0x04, 0x3f, 0x04, 0x24},
    ['u'] = {0x3c, 0x40, 0x40, 0x20, 0x7c},
    ['v'] = {0x1c, 0x20, 0x40, 0x20, 0x1c},
    ['w'] = {0x3c, 0x40, 0x30, 0x40, 0x3c},
    ['x'] = {0x44, 0x28, 0x10, 0x28, 0x44},
    ['y'] = {0x4c, 0x90, 0x90, 0x90, 0x7c},
    ['z'] = {0x44, 0x64, 0x54, 0x4c, 0x44},

    /* Brackets & Special Symbols */
    ['['] = {0x00, 0x00, 0x7f, 0x41, 0x41},
    ['\\']= {0x02, 0x04, 0x08, 0x10, 0x20},
    [']'] = {0x41, 0x41, 0x7f, 0x00, 0x00},
    ['^'] = {0x04, 0x02, 0x01, 0x02, 0x04},
    ['_'] = {0x40, 0x40, 0x40, 0x40, 0x40},
    ['`'] = {0x00, 0x01, 0x02, 0x04, 0x00},
    ['{'] = {0x00, 0x08, 0x36, 0x41, 0x00},
    ['|'] = {0x00, 0x00, 0x7f, 0x00, 0x00},
    ['}'] = {0x00, 0x41, 0x36, 0x08, 0x00},
    ['~'] = {0x02, 0x01, 0x02, 0x04, 0x02},
};

#endif /* FONT5X7_H */
```

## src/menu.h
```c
#ifndef MENU_H
#define MENU_H

#include <stdint.h>
#include <stdbool.h>

/* Navigation / Button Events */
typedef enum {
    EVENT_NONE,
    EVENT_UP,
    EVENT_DOWN,
    EVENT_SELECT,
    EVENT_BACK
} MenuEvent;

/* Public Menu Functions */
void menu_init(void);
void menu_process_event(MenuEvent event);
void menu_render(void);

#endif /* MENU_H */
```

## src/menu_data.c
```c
#include "menu_data.h"
#include <stddef.h>
#include <string.h>
#include "state.h"
#include <stdio.h>

//extern void menu_render(); /*In menu.c*/
extern void safe_menu_render();
/* Forward declare your callback functions */
void cb_set_duration_0H30(void);
void cb_set_duration_0H45(void);
void cb_set_duration_1H00(void);
void cb_set_duration_1H30(void);
void cb_set_duration_2H00(void);
void cb_set_regulation(void);
void cb_set_enableslot2(void);
void cb_set_clock_time(void);
void cb_set_date(void);
void cb_set_target_temp(void);
void cb_set_Time(void);
void cb_set_kp(void);
void cb_set_ki(void);
void cb_set_kd(void);

/* D0: Front Page */
static const MenuItem items_d0[] = {
    { .label = ""},
    { .label = "   ", .strPtr = app_state.CurrentTime },
    { .label = " ", .strPtr = app_state.CurrentDate },
    { .label = "", .strPtr = app_state.TempMaxAct },
    { .label = " ", .strPtr = app_state.GlobalState }
};

/* M0: MENU */
static const MenuItem items_m0[] = {
    { .label = "TEMP.EAU",   .target_screen = "M0_0" },
    { .label = "CHAUFFER",   .target_screen = "M0_1" },
    { .label = "PARAMETRES", .target_screen = "M0_2" },
    { .label = "KPI", .target_screen = "M0_3" }
};

/* M0_0: TEMP.EAU */
static const MenuItem items_m0_0[] = {
    { .label = "MAX: ", .strPtr = app_state.TempMax },
    { .label = "MIN: ", .strPtr = app_state.TempMin },
    { .label = "T.ACT: ", .strPtr = app_state.TempCurrently },
    { .label = "T.CIBLE:" , .strPtr = app_state.TempTarget, .target_action = cb_set_target_temp},
    { .label = "T=f(t) DISP.", .target_screen = "M0_0_1" }
};

/* M0_1: CHAUFFER */
static const MenuItem items_m0_1[] = {
    { .label = "  0H30 ", .target_action = cb_set_duration_0H30 },
    { .label = "  0H45 ", .target_action = cb_set_duration_0H45 },
    { .label = "  1H00 ", .target_action = cb_set_duration_1H00 },
    { .label = "  1H30 ", .target_action = cb_set_duration_1H30 },
    { .label = "  2H00 ", .target_action = cb_set_duration_2H00 }
};

/* M0_2: PARAMETRES */
static const MenuItem items_m0_2[] = {
    { .label = "REGUL: ", .strPtr = app_state.RegulMode, .target_action = cb_set_regulation  },
    { .label = "HEURE: ", .strPtr = app_state.CurrentTime, .target_action = cb_set_clock_time },
    { .label = "DT:", .strPtr = app_state.CurrentDate, .target_action = cb_set_date},
    { .label = "HORAIRES CH.", .target_screen = "M0_2_0" },
    { .label = "T.CIBLE: ", .strPtr = app_state.TempTarget, .target_action = cb_set_target_temp  }
};

/* M0_3: KPI */
static const MenuItem items_m0_3[] = {
    { .label = "KP: ", .strPtr = app_state.KP, .target_action = cb_set_kp },
    { .label = "KI: ", .strPtr = app_state.KI, .target_action = cb_set_ki },
    { .label = "KD: ", .strPtr = app_state.KD, .target_action = cb_set_kd },
    { .label = "D-1: ", .strPtr = app_state.LastHeatDuration }
};
/* M0_2_0: HORAIRE CH. */
static const MenuItem items_m0_2_0[] = {
    { .label = "DEBUT1:" , .strPtr = app_state.TimeStartHeat1, .target_action = cb_set_Time },
    { .label = "FIN1  :" , .strPtr = app_state.TimeStopHeat1, .target_action = cb_set_Time },
    { .label = "SLOT2: ", .strPtr = app_state.slot2, .target_action = cb_set_enableslot2 },
    { .label = "DEBUT2:" , .strPtr = app_state.TimeStartHeat2, .target_action = cb_set_Time },
    { .label = "FIN2  :" , .strPtr = app_state.TimeStopHeat2, .target_action = cb_set_Time }
};

const Screen screen_d0     = { "D0", "  REGULATEUR", "Front Page", items_d0, 5 };
const Screen screen_m0     = { "M0", "MENU", "Main Menu", items_m0, 4 };
const Screen screen_m0_0   = { "M0_0", "TEMP.EAU", "Temperatures", items_m0_0, 5 };
const Screen screen_m0_0_1 = { "M0_0_1", "T=f(t)", "Display T=f(t)", NULL, 0 };
const Screen screen_m0_1   = { "M0_1", app_state.CHTitle, "Heat Now", items_m0_1, 5 };
const Screen screen_m0_2   = { "M0_2", "PARAMETRES", "Settings", items_m0_2, 6 };
const Screen screen_m0_3   = { "M0_2", "KPI Settings", "set KPI", items_m0_3, 4 };
const Screen screen_m0_2_0 = { "M0_2_0", "HORAIRE CH.", "Heating Periods", items_m0_2_0, 5 };

const Screen *get_screen_by_id(const char *id) {
    if (strcmp(id, "D0") == 0) return &screen_d0;
    if (strcmp(id, "M0") == 0) return &screen_m0;
    if (strcmp(id, "M0_0") == 0) return &screen_m0_0;
    if (strcmp(id, "M0_0_1") == 0) return &screen_m0_0_1;
    if (strcmp(id, "M0_1") == 0) return &screen_m0_1;
    if (strcmp(id, "M0_2") == 0) return &screen_m0_2;
    if (strcmp(id, "M0_3") == 0) return &screen_m0_3;
    if (strcmp(id, "M0_2_0") == 0) return &screen_m0_2_0;
    return NULL;
}

/* 1. Core helper function that accepts the duration string */
static void apply_duration(const char *dur) {
    snprintf(app_state.HeatDuration, sizeof(app_state.HeatDuration), "%s", dur);
    snprintf(app_state.CHTitle, sizeof(app_state.CHTitle), "CH.: %s", dur);
    //menu_render();
    safe_menu_render();
}

/* 2. Tiny wrapper functions matching the void (*)(void) menu signature */
void cb_set_duration_0H30(void) { apply_duration("0H30"); }
void cb_set_duration_0H45(void) { apply_duration("0H45"); }
void cb_set_duration_1H00(void) { apply_duration("1H00"); }
void cb_set_duration_1H30(void) { apply_duration("1H30"); }
void cb_set_duration_2H00(void) { apply_duration("2H00"); }

void cb_set_regulation(void) {
    /* Cycle through regulation modes: ON -> FULLON -> OFF -> ON */
    if (strcmp(app_state.RegulMode, "ON") == 0) {
        snprintf(app_state.RegulMode, sizeof(app_state.RegulMode), "FULLON");
        snprintf(app_state.State, sizeof(app_state.State), " Tjrs en CH.");
    } 
    else if (strcmp(app_state.RegulMode, "FULLON") == 0) {
        snprintf(app_state.RegulMode, sizeof(app_state.RegulMode), "OFF");
        snprintf(app_state.State, sizeof(app_state.State), "-- ARRET --");
    } 
    else {
        snprintf(app_state.RegulMode, sizeof(app_state.RegulMode), "ON");
        snprintf(app_state.State, sizeof(app_state.State), " REGUL.: ON");
    }
    
    //menu_render();
    safe_menu_render();
}
void cb_set_enableslot2(void){
        /* Cycle through regulation modes: ON -> FULLON -> OFF -> ON */
    if (strcmp(app_state.slot2, "ON") == 0) {
        snprintf(app_state.slot2, sizeof(app_state.slot2), "OFF");
    }else snprintf(app_state.slot2, sizeof(app_state.slot2), "ON");
}

void cb_set_Time(){
    /*Reset editing state and position of the cursor*/
    app_state.is_editing = true;
    app_state.edit_what = 0; /*For Heater Time Schedule*/
    app_state.edit_digit_pos = 0;
    app_state.edit_lastdigit_pos = 4; /*0,1,3,4*/
}

void cb_set_target_temp(void){
    /*Reset editing state and position of the cursor*/
    app_state.is_editing = true;
    app_state.edit_what = 1; /*For TempTarget*/
    app_state.edit_digit_pos = 0;
    app_state.edit_lastdigit_pos = 1; /*0 and 1*/
}

void cb_set_clock_time(void){
    app_state.is_editing = true;
    app_state.edit_what = 2; /*For Time*/
    app_state.edit_digit_pos = 0;
    app_state.edit_lastdigit_pos = 4; /*0,1,3,4*/
}

void cb_set_date(void){
   app_state.is_editing = true;
    app_state.edit_what = 3; /*For Date*/
    app_state.edit_digit_pos = 0;
    app_state.edit_lastdigit_pos = 9; /*0,1,3,4,6,7,8,9*/
}

void cb_set_kp(void){
    app_state.is_editing = true;
    app_state.edit_what = 4; /*For kp*/
    app_state.edit_digit_pos = 0;
    app_state.edit_lastdigit_pos = 3; /*0,2,3*/
}
void cb_set_ki(void){
    app_state.is_editing = true;
    app_state.edit_what = 5; /*For ki*/
    app_state.edit_digit_pos = 0;
    app_state.edit_lastdigit_pos = 3; /*0,2,3*/
}
void cb_set_kd(void){
    app_state.is_editing = true;
    app_state.edit_what = 6; /*For kd*/
    app_state.edit_digit_pos = 0;
    app_state.edit_lastdigit_pos = 3; /*0,2,3*/
}
```

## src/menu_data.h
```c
#ifndef MENU_DATA_H
#define MENU_DATA_H

#include <stdint.h>

/* Define the function pointer type for actions */
typedef void (*menu_action_cb_t)(void);

typedef struct {
    const char *label;
    const char *target_screen;
    const char *strPtr;
    menu_action_cb_t target_action; /* Direct function pointer callback when selected */
} MenuItem;

typedef struct {
    const char *id;
    const char *name;
    const char *description;
    const MenuItem *items;
    uint8_t item_count;
} Screen;

/* Declare screens */
extern const Screen screen_d0;
extern const Screen screen_m0;
extern const Screen screen_m0_0;
extern const Screen screen_m0_0_1;
extern const Screen screen_m0_1;
extern const Screen screen_m0_2;
extern const Screen screen_m0_2_0;

const Screen *get_screen_by_id(const char *id);

#endif
```

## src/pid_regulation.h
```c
#include <stdio.h>
#include <string.h>
#include <stdlib.h>
#include <stdbool.h>
#include "state.h"
#include <zephyr/logging/log.h>

extern int run_heating_regulation();
```
